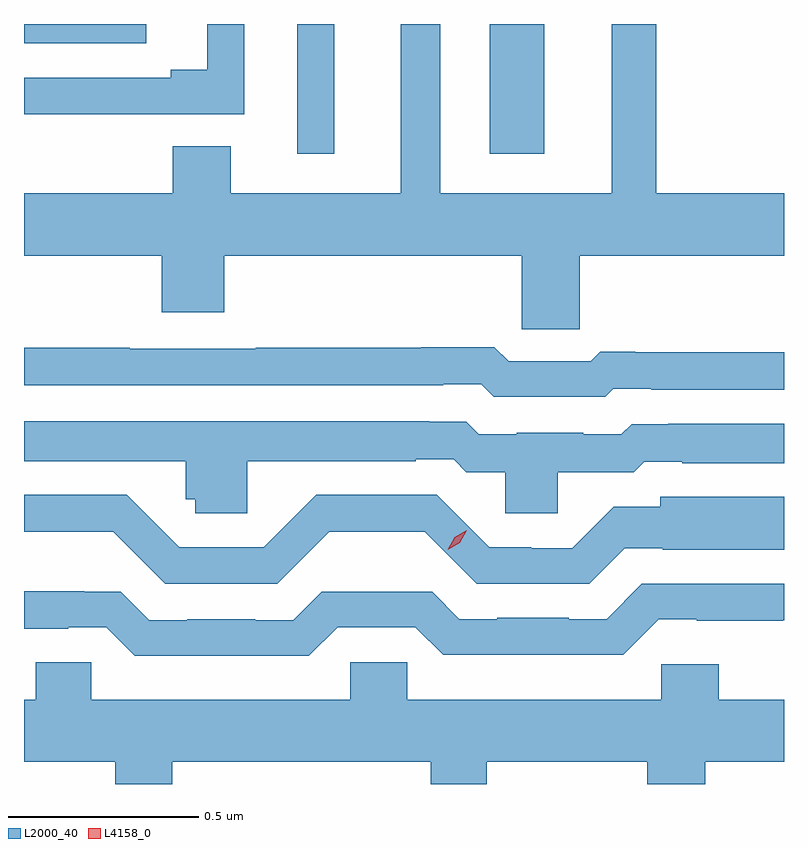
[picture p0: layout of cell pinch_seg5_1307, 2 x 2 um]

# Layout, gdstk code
import gdstk
lib = gdstk.Library(unit=1e-6, precision=1e-09)
def R(c, l, rs):  # rectangles x0, y0, x1, y1
    for r in rs: c.add(gdstk.rectangle(r[:2], r[2:], *l))
def P(c, l, *ps):  # polygons
    for p in ps: c.add(gdstk.Polygon(p, *l))
L2000_40 = (2000, 40)
L4158_0 = (4158, 0)

pinch_seg5_1307 = lib.new_cell('pinch_seg5_1307')
R(pinch_seg5_1307, L2000_40, [(481.424,858.36,481.522,858.702), (481.931,858.36,482.074,858.702), (480.705,858.651,481.027,858.702)])
P(pinch_seg5_1307, L2000_40, [(482.167,858.092),(482.705,858.092),(482.705,858.256),(482.369,858.256),(482.369,858.702),(482.252,858.702),(482.252,858.256),(481.801,858.256),(481.801,858.702),(481.697,858.702),(481.697,858.256),(481.249,858.256),(481.249,858.38),(481.097,858.38),(481.097,858.256),(480.705,858.256),(480.705,858.092),(481.067,858.092),(481.067,857.943),(481.232,857.943),(481.232,858.092),(482.015,858.092),(482.015,857.899),(482.167,857.899)],
  [(481.013,858.465),(481.285,858.465),(481.285,858.702),(481.187,858.702),(481.187,858.581),(481.091,858.581),(481.091,858.561),(480.705,858.561),(480.705,858.464),(481.013,858.464)],
  [(482.256,857.742),(482.356,857.742),(482.356,857.739),(482.705,857.739),(482.705,857.838),(482.314,857.838),(482.314,857.839),(482.221,857.839),(482.196,857.814),(481.98,857.814),(481.942,857.852),(481.75,857.852),(481.75,857.85),(481.315,857.85),(481.315,857.847),(480.983,857.847),(480.983,857.85),(480.705,857.85),(480.705,857.751),(481.808,857.751),(481.808,857.754),(481.908,857.754),(481.941,857.721),(482.235,857.721)],
  [(481.293,857.552),(481.736,857.552),(481.736,857.556),(481.836,857.556),(481.869,857.523),(481.971,857.523),(481.971,857.415),(482.109,857.415),(482.109,857.522),(482.309,857.522),(482.337,857.55),(482.437,857.55),(482.437,857.546),(482.705,857.546),(482.705,857.65),(482.401,857.65),(482.401,857.649),(482.304,857.649),(482.277,857.622),(482.177,857.622),(482.177,857.626),(482.002,857.626),(482.002,857.622),(481.902,857.622),(481.869,857.655),(481.772,857.655),(481.772,857.656),(480.705,857.656),(480.705,857.552),(481.131,857.552),(481.131,857.451),(481.155,857.451),(481.155,857.415),(481.293,857.415)],
  [(481.508,857.366),(481.759,857.366),(481.896,857.229),(482.193,857.229),(482.286,857.322),(482.386,857.322),(482.386,857.318),(482.705,857.318),(482.705,857.458),(482.379,857.458),(482.379,857.431),(482.257,857.431),(482.148,857.322),(482.04,857.322),(482.04,857.325),(481.929,857.325),(481.791,857.463),(481.474,857.463),(481.336,857.325),(481.113,857.325),(480.975,857.463),(480.705,857.463),(480.705,857.366),(480.94,857.366),(481.077,857.229),(481.371,857.229)],
  [(481.53,857.115),(481.735,857.115),(481.808,857.042),(482.282,857.042),(482.375,857.135),(482.476,857.135),(482.476,857.132),(482.702,857.132),(482.702,857.133),(482.705,857.133),(482.705,857.229),(482.331,857.229),(482.238,857.136),(482.138,857.136),(482.138,857.139),(481.951,857.139),(481.951,857.136),(481.851,857.136),(481.779,857.208),(481.488,857.208),(481.413,857.133),(481.313,857.133),(481.313,857.136),(481.135,857.136),(481.135,857.133),(481.035,857.133),(480.96,857.208),(480.863,857.208),(480.863,857.209),(480.705,857.209),(480.705,857.111),(480.821,857.111),(480.821,857.115),(480.921,857.115),(480.997,857.039),(481.454,857.039)],
  [(482.382,856.924),(481.713,856.924),(481.713,857.022),(481.563,857.022),(481.563,856.924),(480.882,856.924),(480.882,857.022),(480.736,857.022),(480.736,856.924),(480.705,856.924),(480.705,856.76),(480.945,856.76),(480.945,856.702),(481.095,856.702),(481.095,856.76),(481.776,856.76),(481.776,856.702),(481.923,856.702),(481.923,856.76),(482.345,856.76),(482.345,856.702),(482.498,856.702),(482.498,856.76),(482.705,856.76),(482.705,856.924),(482.533,856.924),(482.533,857.017),(482.382,857.017)])
P(pinch_seg5_1307, L4158_0, [(481.82,857.318),(481.82,857.318),(481.838,857.351),(481.87,857.37),(481.87,857.37),(481.87,857.37),(481.852,857.337),(481.82,857.318)])

lib.write_gds('pinch_seg5_1307.gds')
